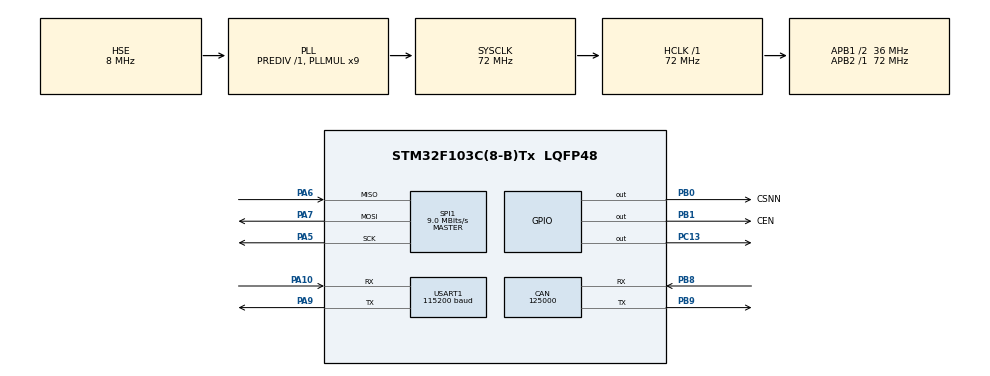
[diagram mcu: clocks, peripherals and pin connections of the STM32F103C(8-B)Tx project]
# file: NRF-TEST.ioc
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CAN.BS1=CAN_BS1_15TQ
CAN.BS2=CAN_BS2_2TQ
CAN.CalculateBaudRate=125000
CAN.CalculateTimeBit=8000
CAN.CalculateTimeQuantum=444.44444444444446
CAN.Mode=CAN_MODE_NORMAL
Dma.Request0=USART1_RX
Dma.USART1_RX.0.Direction=DMA_PERIPH_TO_MEMORY
Dma.USART1_RX.0.Instance=DMA1_Channel5
Dma.USART1_RX.0.MemDataAlignment=DMA_MDATAALIGN_BYTE
Dma.USART1_RX.0.MemInc=DMA_MINC_ENABLE
Dma.USART1_RX.0.Mode=DMA_NORMAL
Dma.USART1_RX.0.PeriphDataAlignment=DMA_PDATAALIGN_BYTE
Dma.USART1_RX.0.PeriphInc=DMA_PINC_DISABLE
Dma.USART1_RX.0.Priority=DMA_PRIORITY_LOW
Mcu.Family=STM32F1
Mcu.Name=STM32F103C(8-B)Tx
Mcu.Package=LQFP48
NVIC.DMA1_Channel5_IRQn=true\:0\:0\:false\:false\:true\:false\:true\:true
NVIC.PriorityGroup=NVIC_PRIORITYGROUP_4
NVIC.TIM1_UP_IRQn=true\:15\:0\:false\:false\:true\:false\:true\:true
NVIC.TimeBase=TIM1_UP_IRQn
NVIC.TimeBaseIP=TIM1
NVIC.USART1_IRQn=true\:0\:0\:false\:false\:true\:true\:true\:true
PA10.Mode=Asynchronous
PA10.Signal=USART1_RX
PA13.Mode=Serial_Wire
PA13.Signal=SYS_JTMS-SWDIO
PA14.Mode=Serial_Wire
PA14.Signal=SYS_JTCK-SWCLK
PA5.Mode=Full_Duplex_Master
PA5.Signal=SPI1_SCK
PA6.Mode=Full_Duplex_Master
PA6.Signal=SPI1_MISO
PA7.Mode=Full_Duplex_Master
PA7.Signal=SPI1_MOSI
PA9.Mode=Asynchronous
PA9.Signal=USART1_TX
PB0.GPIO_Label=CSNN
PB0.GPIO_ModeDefaultOutputPP=GPIO_MODE_OUTPUT_PP
PB0.GPIO_PuPd=GPIO_NOPULL
PB0.GPIO_Speed=GPIO_SPEED_FREQ_HIGH
PB0.PinState=GPIO_PIN_SET
PB0.Signal=GPIO_Output
PB1.GPIO_Label=CEN
PB1.Signal=GPIO_Output
PB8.Mode=CAN_Activate
PB8.Signal=CAN_RX
PB9.Mode=CAN_Activate
PB9.Signal=CAN_TX
PC13-TAMPER-RTC.Signal=GPIO_Output
PD0-OSC_IN.Mode=HSE-External-Oscillator
PD0-OSC_IN.Signal=RCC_OSC_IN
PD1-OSC_OUT.Mode=HSE-External-Oscillator
PD1-OSC_OUT.Signal=RCC_OSC_OUT
ProjectManager.HeapSize=0x200
ProjectManager.StackSize=0x400
ProjectManager.TargetToolchain=MDK-ARM V5.32
RCC.AHBFreq_Value=72000000
RCC.APB1CLKDivider=RCC_HCLK_DIV2
RCC.APB1Freq_Value=36000000
RCC.APB1TimFreq_Value=72000000
RCC.APB2Freq_Value=72000000
RCC.APB2TimFreq_Value=72000000
RCC.HCLKFreq_Value=72000000
RCC.PLLMUL=RCC_PLL_MUL9
RCC.PLLSourceVirtual=RCC_PLLSOURCE_HSE
RCC.SYSCLKFreq_VALUE=72000000
RCC.SYSCLKSource=RCC_SYSCLKSOURCE_PLLCLK
RCC.USBFreq_Value=72000000
SPI1.BaudRatePrescaler=SPI_BAUDRATEPRESCALER_8
SPI1.CalculateBaudRate=9.0 MBits/s
SPI1.Direction=SPI_DIRECTION_2LINES
SPI1.Mode=SPI_MODE_MASTER
SPI1.VirtualType=VM_MASTER
USART1.BaudRate=115200
USART1.Mode=MODE_TX_RX
USART1.VirtualMode=VM_ASYNC
VP_SYS_VS_tim1.Mode=TIM1
board=custom

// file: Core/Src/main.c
/* USER CODE BEGIN Header */
/**
  ******************************************************************************
  * @file           : main.c
  * @brief          : Main program body
  ******************************************************************************
  * @attention
  *
  * Copyright (c) 2023 STMicroelectronics.
  * All rights reserved.
  *
  * This software is licensed under terms that can be found in the LICENSE file
  * in the root directory of this software component.
  * If no LICENSE file comes with this software, it is provided AS-IS.
  *
  ******************************************************************************
  */
/* USER CODE END Header */
#include "main.h"
#include "can.h"
#include "dma.h"
#include "spi.h"
#include "usart.h"
#include "gpio.h"

/* USER CODE BEGIN Includes */
#include "nrf.h"
#include "FreeRTOS.h"
#include "semphr.h"
#include "task.h"
#include "queue.h"

#include <stdio.h>
#include <stdint.h>
#include <string.h>
#include <inttypes.h>
/* USER CODE END Includes */

/* USER CODE BEGIN PD */

///////////////////////////////////
///   BUILD CHOICE DIRECTIVE  ////
/////////////////////////////////

// CHOOSE IF YOU WANT TO BUILD TRANSMITTER
#define TRANSMITTER

// CHOOSE IF YOU WANT TO BUILD RECEIVER
//#define RECEIVER

/* USER CODE END PD */

/* USER CODE BEGIN PV */

// SENT AND RECEIVED DATA WRAPPER
// THESE ARE THE PACKETS SENT BY NRF

struct RX_Message
{
    uint16_t ID; 					 	/**--> CAN MSG ID  **/
		uint8_t Data[8];				/**--> CAN MSG DATA  **/
}RX_Message_S;

struct TX_Message
{
    uint16_t ID;
		uint8_t Data[8];
}TX_Message_S;

// YOUR CHANNEL ADDRESS OF CHOICE
// CHANGE FROM RESET VALUE TO AVOID

uint8_t comm_address[5] = {0x14,0x14,0x14,0x14,0x14};
uint8_t comm_address_t[5] = {0x14,0x14,0x14,0x14,0x14};

uint8_t pl = 0;

// CAN STUFF, YOU CAN SEE MY FILTER CONFIGS IN CAN.C

CAN_RxHeaderTypeDef RxHeader;
uint8_t RxData[8];

// CAN STUFF END

uint8_t PL_Size;
uint64_t RxNRF;

uint8_t ACKrx[1];
uint8_t ACKtx1[1] = {'1'};
uint8_t ACKtx2[1] = {'2'};

#ifdef twoWay
#ifdef RECEIVER
uint8_t received = 0;

#define TwoWayBufSize 1
uint8_t TwoWayBuf[TwoWayBufSize];
void HAL_UARTEx_RxEventCallback(UART_HandleTypeDef *huart, uint16_t size){
	HAL_UARTEx_ReceiveToIdle_DMA(&huart1, TwoWayBuf,TwoWayBufSize);
	__HAL_DMA_DISABLE_IT(&hdma_usart1_rx,DMA_IT_HT);
	received = 1;
}
#endif
#endif

// THIS IS ONLY NECESSRAY IF I AM TRANSMITTING IN CAN OR TESTING IN LOOP BACK
/*
CAN_TxHeaderTypeDef TxHeader;
uint32_t TxMailbox;
uint8_t TxData[8];
*/

#ifdef TRANSMITTER
TaskHandle_t xTX_NRF_TaskHandle = NULL;
TaskHandle_t xTX_CAN_RX_TaskHandle = NULL;
TaskHandle_t xTX_NRF_Init_TaskHandle = NULL;
TaskHandle_t xTX_NRF_State_TaskHandle = NULL;
QueueHandle_t xCAN_QueueHandle;

NRF_Config_t tx_cfg;
#endif

#ifdef RECEIVER
TaskHandle_t xRX_NRF_TaskHandle = NULL;
TaskHandle_t xRX_NRF_Init_TaskHandle = NULL;
TaskHandle_t xRX_NRF_State_TaskHandle = NULL;

NRF_Config_t rx_cfg;
#endif

/* USER CODE END PV */

void SystemClock_Config(void);
/* USER CODE BEGIN PFP */

#ifdef TRANSMITTER
void vTX_NRF_TaskHandler( void * pvParameters );
void vTX_CAN_RX_TaskHandler( void * pvParameters );
void vTX_NRF_Init_TaskHandler( void * pvParameters );
void vTX_NRF_State_TaskHandler( void * pvParameters );
#endif

#ifdef RECEIVER
void vRX_NRF_TaskHandler( void * pvParameters );
void vRX_NRF_Init_TaskHandler( void * pvParameters );
void vRX_NRF_State_TaskHandler( void * pvParameters );
#endif

/* USER CODE END PFP */

int main(void)
{

  /* MCU Configuration--------------------------------------------------------*/

  /* Reset of all peripherals, Initializes the Flash interface and the Systick. */
  HAL_Init();

  /* Configure the system clock */
  SystemClock_Config();

  /* Initialize all configured peripherals */
  MX_GPIO_Init();
  MX_DMA_Init();
  MX_SPI1_Init();
  MX_USART1_UART_Init();
  MX_CAN_Init();
  /* USER CODE BEGIN 2 */
	HAL_CAN_Start(&hcan);

	// THIS IS ONLY NECESSRAY IF I AM TRANSMITTING IN CAN OR TESTING IN LOOP BACK

	/*
	TxHeader.DLC = 1;
	TxHeader.ExtId = 0;
	TxHeader.IDE = CAN_ID_STD;
	TxHeader.RTR = CAN_RTR_DATA;
	TxHeader.StdId = 0x103;
	TxHeader.TransmitGlobalTime = DISABLE;
	*/

	/***********< Task Creation **********/
	#ifdef TRANSMITTER

	xTaskCreate(
              vTX_NRF_TaskHandler,
              "NRF Transmit",
              128,
              NULL,
              1,
              &xTX_NRF_TaskHandle );

	xTaskCreate(
              vTX_NRF_Init_TaskHandler,
              "NRF tx init",
              configMINIMAL_STACK_SIZE,
              NULL,
              configMAX_PRIORITIES - 1 ,
              &xTX_NRF_Init_TaskHandle );
	xTaskCreate(
              vTX_CAN_RX_TaskHandler,
              "CAN Receive",
              128,
              NULL,
              1,
              &xTX_CAN_RX_TaskHandle );
	xTaskCreate(
              vTX_NRF_State_TaskHandler,
              "CAN Receive",
              128,
              NULL,
              1,
              &xTX_NRF_State_TaskHandle );

	xCAN_QueueHandle = xQueueCreate(15, sizeof(&TX_Message_S));
	#endif
	#ifdef RECEIVER
	xTaskCreate(
              vRX_NRF_TaskHandler,
              "NRF Receive",
              256,
              NULL,
              1,
              &xRX_NRF_TaskHandle );
	xTaskCreate(
              vRX_NRF_Init_TaskHandler,
              "NRF rx init",
              configMINIMAL_STACK_SIZE,
              NULL,
              configMAX_PRIORITIES - 1,
              &xRX_NRF_Init_TaskHandle );
//	xTaskCreate(
//              vRX_NRF_State_TaskHandler,
//              "NRF rx state",
//              128,
//              NULL,
//              1,
//              &xRX_NRF_State_TaskHandle );
	#endif

	vTaskStartScheduler();
	/***********<End of Task Creation **********/

  /* USER CODE END 2 */

  /* Infinite loop */
  while (1)
  {

  }
}

void SystemClock_Config(void)
{
  RCC_OscInitTypeDef RCC_OscInitStruct = {0};
  RCC_ClkInitTypeDef RCC_ClkInitStruct = {0};

  /** Initializes the RCC Oscillators according to the specified parameters
  * in the RCC_OscInitTypeDef structure.
  */
  RCC_OscInitStruct.OscillatorType = RCC_OSCILLATORTYPE_HSE;
  RCC_OscInitStruct.HSEState = RCC_HSE_ON;
  RCC_OscInitStruct.HSEPredivValue = RCC_HSE_PREDIV_DIV1;
  RCC_OscInitStruct.HSIState = RCC_HSI_ON;
  RCC_OscInitStruct.PLL.PLLState = RCC_PLL_ON;
  RCC_OscInitStruct.PLL.PLLSource = RCC_PLLSOURCE_HSE;
  RCC_OscInitStruct.PLL.PLLMUL = RCC_PLL_MUL9;
  if (HAL_RCC_OscConfig(&RCC_OscInitStruct) != HAL_OK)
  {
    Error_Handler();
  }

  /** Initializes the CPU, AHB and APB buses clocks
  */
  RCC_ClkInitStruct.ClockType = RCC_CLOCKTYPE_HCLK|RCC_CLOCKTYPE_SYSCLK
                              |RCC_CLOCKTYPE_PCLK1|RCC_CLOCKTYPE_PCLK2;
  RCC_ClkInitStruct.SYSCLKSource = RCC_SYSCLKSOURCE_PLLCLK;
  RCC_ClkInitStruct.AHBCLKDivider = RCC_SYSCLK_DIV1;
  RCC_ClkInitStruct.APB1CLKDivider = RCC_HCLK_DIV2;
  RCC_ClkInitStruct.APB2CLKDivider = RCC_HCLK_DIV1;

  if (HAL_RCC_ClockConfig(&RCC_ClkInitStruct, FLASH_LATENCY_2) != HAL_OK)
  {
    Error_Handler();
  }
}

/* USER CODE BEGIN 4 */

#ifdef TRANSMITTER
void vTX_NRF_TaskHandler( void * pvParameters )
{
		struct TX_Message * RX_Local;
    for( ;; )
    {
			if( xQueueReceive( xCAN_QueueHandle,&( RX_Local ),( TickType_t ) 0 ) == pdPASS )
			{

				if(ECUAL_NRF_TX_Transmit((uint8_t *)(RX_Local),10))
				{

					#ifdef twoWay
					// TWO WAY COMMUNICATION TESTING
					//ECUAL_NRF_flush_rx_fifo();
					pl = ECUAL_NRF_RX_Receive_Single(ACKrx);
					if(pl)
					{
						if(ACKrx[0] == '1')
						{
							HAL_GPIO_WritePin(GPIOC, GPIO_PIN_13,GPIO_PIN_SET);
						}
						else
						{
							HAL_GPIO_WritePin(GPIOC, GPIO_PIN_13,GPIO_PIN_RESET);
						}

					}
					#endif

					ECUAL_NRF_tx_irq();

				}

				vTaskDelay(1);

			}
    }
}

void vTX_NRF_Init_TaskHandler( void * pvParameters )
{
		//ONE TIME INIT TASK
		// MY CUBE IDE STYLE NRF CONFIGURATIONS

		tx_cfg.NRF_Power = NRF_PWR_0dBm;
		tx_cfg.NRF_Rate = NRF_DATA_RATE_1MBPS;
		tx_cfg.NRF_Channel = 100;
		tx_cfg.NRF_Payload_Length = 10;
		tx_cfg.NRF_Addr_Width = NRF_ADDR_WIDTH_5;
		tx_cfg.NRF_Address = comm_address;
		tx_cfg.NRF_Re_Count = 5;
		tx_cfg.NRF_Re_Delay = 5;

		ECUAL_NRF_Tx_Init(&tx_cfg);
		vTaskDelete(NULL);
    for( ;; )
    {
    }
}

void vTX_NRF_State_TaskHandler( void * pvParameters )
{
    for( ;; )
    {
			if((ECUAL_NRF_chech_pwr()) && (ECUAL_NRF_chech_tx()) )
			{
				// do nothing, business as usual
			}
			else
			{
				//There was noise power/signal and now i have to restart the NRF to unlock communication
				ECUAL_NRF_Tx_Init(&tx_cfg);
			}

			vTaskDelay(1000);
    }
}

void vTX_CAN_RX_TaskHandler( void * pvParameters )
{
		struct TX_Message *TX_Local;

		struct TX_Message t1;
		struct TX_Message t2;

		uint64_t a = 0x00000000;
		uint64_t b = 0x00000000;

		t1.ID = 0x103;
		t2.ID = 0x100;

		memcpy(t1.Data, &a, 8);
		memcpy(t2.Data, &b, 8);

		int i =0;

    for( ;; )
    {
			/** REAL CAN FOR TESTING **/

			if(HAL_CAN_GetRxMessage(&hcan,CAN_RX_FIFO0,&RxHeader,RxData) == HAL_OK)
			{
				if(((RxHeader.StdId >> 5) > 0x19 )&&((RxHeader.StdId >> 5) < 0x25 )) // Controller messages
				{
					memcpy(TX_Message_S.Data, RxData,8);
					//TX_Message_S.Data = RxData;
					TX_Message_S.ID = RxHeader.StdId >> 5;
					TX_Local = &TX_Message_S;
				}
				else
				{
					memcpy(TX_Message_S.Data, RxData,8);
					//TX_Message_S.Data = RxData;
					TX_Message_S.ID = RxHeader.StdId;
					TX_Local = &TX_Message_S;
				}
				xQueueSendToBack(xCAN_QueueHandle, (void *) &TX_Local, (TickType_t ) 0);
				vTaskDelay(5);
			}

			/** PSEUDO CAN FOR DEBUGGING NRF **/
//			i++;
//			if(i ==1)
//			{
//				a++;
//				if(a > 0xFFFFFFFE)
//				{
//					a = 0x00000000;
//				}
//				memcpy(t1.Data, &a, 8);
//				TX_Message_S.ID = t1.ID;
//				memcpy(TX_Message_S.Data,t1.Data,8);
//				TX_Local = &TX_Message_S;
//				xQueueSendToBack(xCAN_QueueHandle, (void *) &TX_Local, (TickType_t ) 0);
//			}
//
//			else if(i == 2)
//			{
//				b++;
//				if(b > 0xFFFFFFFE)
//				{
//					b = 0x00000000;
//				}
//				memcpy(t2.Data, &b, 8);
//				i = 0;
//				TX_Message_S.ID = t2.ID;
//				memcpy(TX_Message_S.Data,t2.Data,8);
//				TX_Local = &TX_Message_S;
//				xQueueSendToBack(xCAN_QueueHandle, (void *) &TX_Local, (TickType_t ) 0);
//
//			}
//			vTaskDelay(1);
    }
}

#endif

#ifdef RECEIVER
void vRX_NRF_TaskHandler( void * pvParameters )
{
		// FORMAT OF SERIAL MESSAGE
		// $		  										--->  						MSG ID  							--->  MSG DATA
		// 1 letter										--->						1 to 3 digits						--->  double with 3 decimal point precision
		// uinque, avoid noise, start --->						ID linked to DB         --->  max precision expandable data
uint8_t i = 0;
    for( ;; )
    {
			PL_Size = ECUAL_NRF_RX_Receive_Single((uint8_t *)(&RX_Message_S));
			if(PL_Size)
			{

				#ifdef twoWay
				// 2 way test
//				i++;
//				if(i == 1)
//				{
//					ECUAL_NRF_Wrtie_ACK(1,ACKtx1, 1 	);
//				}
//				else if (i == 2)
//				{
//					ECUAL_NRF_Wrtie_ACK(1,ACKtx2, 1);
//					i = 0;
//				}
				if(received)
				{
					received  = 0;
					ECUAL_NRF_Wrtie_ACK(1,TwoWayBuf, 1 );
				}
				#endif

			uint8_t str[30] = {0};
			if((RX_Message_S.ID > 0x19 )&&(RX_Message_S.ID < 0x25 )) 	// Controller messages
			{
				memcpy(&RxNRF, RX_Message_S.Data, 8);
				sprintf(str,"$%d,%"PRIu64, RX_Message_S.ID,RxNRF);
				HAL_UART_Transmit(&huart1, str,30,100);
			}
			else // LV system
			{
				memcpy(&RxNRF, RX_Message_S.Data, 8);
				sprintf(str,"$%d,%"PRIu64, RX_Message_S.ID,RxNRF);
				HAL_UART_Transmit(&huart1, str,30,100);

			}

			HAL_UART_Transmit(&huart1, (uint8_t *)"\n\r", strlen("\n\r"), 100);
			vTaskDelay(1);
			}
    }
}

void vRX_NRF_Init_TaskHandler( void * pvParameters )
{
		// ONE TIME INIT TASK
		// MY CUBE IDE STYLE NRF CONFIGURATIONS

		rx_cfg.NRF_Power = NRF_PWR_0dBm;
		rx_cfg.NRF_Rate = NRF_DATA_RATE_1MBPS;
		rx_cfg.NRF_Channel = 100;
		rx_cfg.NRF_Payload_Length = 10;
		rx_cfg.NRF_Addr_Width = NRF_ADDR_WIDTH_5;
		rx_cfg.NRF_Address = comm_address;
		rx_cfg.NRF_Re_Count = 5;
		rx_cfg.NRF_Re_Delay = 5;

		ECUAL_NRF_Rx_Init(&rx_cfg);
	#ifdef twoWay
		HAL_UARTEx_ReceiveToIdle_DMA(&huart1, TwoWayBuf,TwoWayBufSize);
	__HAL_DMA_DISABLE_IT(&hdma_usart1_rx,DMA_IT_HT);
	#endif
		vTaskDelete(NULL);
    for( ;; )
    {
    }
}

void vRX_NRF_State_TaskHandler( void * pvParameters )
{
    for( ;; )
    {
			if(ECUAL_NRF_chech_pwr())
			{
				// do nothing, business as ususal
				ECUAL_NRF_flush_rx_fifo();
			}
			else
			{
				//reinit nrf, power/signal potentially lost briefly, resetting module and hence locked
				//this is crucial and new from last year, preventing communication lock
				ECUAL_NRF_Rx_Init(&rx_cfg);
				ECUAL_NRF_flush_rx_fifo();
			}

			vTaskDelay(1000);
    }
}

// SCREW KEIL IDE I NEVER WANT TO WORK WITH IT ANOTHER DAY IN MY LIFE :DDD
#endif

/* USER CODE END 4 */

void HAL_TIM_PeriodElapsedCallback(TIM_HandleTypeDef *htim)
{
  if (htim->Instance == TIM1) {
    HAL_IncTick();
  }
}

void Error_Handler(void)
{
  __disable_irq();
  while (1)
  {
  }
}
